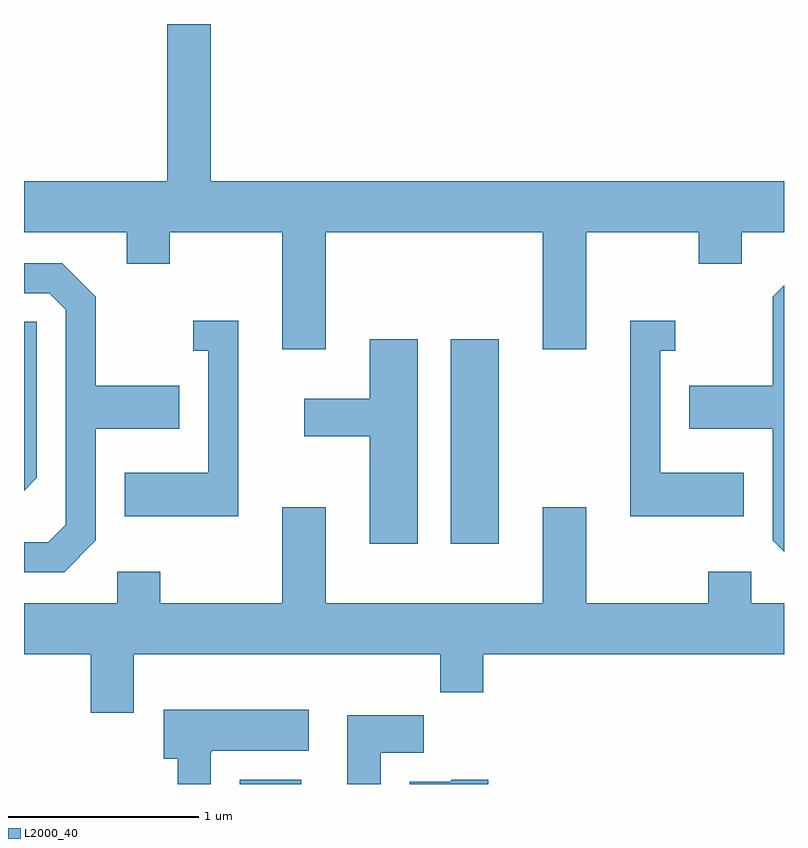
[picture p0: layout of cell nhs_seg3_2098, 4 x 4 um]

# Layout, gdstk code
import gdstk
lib = gdstk.Library(unit=1e-6, precision=1e-09)
def R(c, l, rs):  # rectangles x0, y0, x1, y1
    for r in rs: c.add(gdstk.rectangle(r[:2], r[2:], *l))
def P(c, l, *ps):  # polygons
    for p in ps: c.add(gdstk.Polygon(p, *l))
L2000_40 = (2000, 40)

nhs_seg3_2098 = lib.new_cell('nhs_seg3_2098')
R(nhs_seg3_2098, L2000_40, [(246.746,1231.892,247.069,1231.914), (247.856,1233.156,248.109,1234.234)])
P(nhs_seg3_2098, L2000_40, [(247.199,1234.796),(248.341,1234.796),(248.341,1234.181),(248.569,1234.181),(248.569,1234.796),(249.161,1234.796),(249.161,1234.631),(249.389,1234.631),(249.389,1234.796),(249.611,1234.796),(249.611,1235.064),(246.594,1235.064),(246.594,1235.892),(246.366,1235.892),(246.366,1235.064),(245.611,1235.064),(245.611,1234.796),(246.151,1234.796),(246.151,1234.631),(246.379,1234.631),(246.379,1234.796),(246.971,1234.796),(246.971,1234.181),(247.199,1234.181)],
  [(245.989,1233.174),(245.989,1233.761),(246.429,1233.761),(246.429,1233.989),(245.989,1233.989),(245.989,1234.457),(245.812,1234.634),(245.611,1234.634),(245.611,1234.476),(245.744,1234.476),(245.831,1234.389),(245.831,1233.257),(245.739,1233.164),(245.611,1233.164),(245.611,1233.006),(245.822,1233.006)],
  [(249.611,1234.517),(249.551,1234.457),(249.551,1233.989),(249.111,1233.989),(249.111,1233.761),(249.551,1233.761),(249.551,1233.174),(249.611,1233.114)],
  [(246.739,1234.329),(246.503,1234.329),(246.503,1234.171),(246.581,1234.171),(246.581,1233.529),(246.141,1233.529),(246.141,1233.301),(246.739,1233.301)],
  [(249.399,1233.529),(248.959,1233.529),(248.959,1234.171),(249.038,1234.171),(249.038,1234.329),(248.801,1234.329),(248.801,1233.301),(249.399,1233.301)],
  [(245.679,1233.504),(245.679,1234.324),(245.611,1234.324),(245.611,1233.436)],
  [(247.684,1234.234),(247.431,1234.234),(247.431,1233.919),(247.086,1233.919),(247.086,1233.721),(247.431,1233.721),(247.431,1233.156),(247.684,1233.156)],
  [(246.189,1232.576),(247.801,1232.576),(247.801,1232.376),(248.029,1232.376),(248.029,1232.576),(249.611,1232.576),(249.611,1232.844),(249.439,1232.844),(249.439,1233.009),(249.211,1233.009),(249.211,1232.844),(248.569,1232.844),(248.569,1233.349),(248.341,1233.349),(248.341,1232.844),(247.199,1232.844),(247.199,1233.349),(246.971,1233.349),(246.971,1232.844),(246.329,1232.844),(246.329,1233.009),(246.101,1233.009),(246.101,1232.844),(245.611,1232.844),(245.611,1232.576),(245.961,1232.576),(245.961,1232.266),(246.189,1232.266)],
  [(246.594,1232.06),(246.6,1232.06),(246.6,1232.066),(247.109,1232.066),(247.109,1232.284),(246.346,1232.284),(246.346,1232.026),(246.421,1232.026),(246.421,1231.892),(246.594,1231.892)],
  [(247.489,1232.056),(247.714,1232.056),(247.714,1232.254),(247.311,1232.254),(247.311,1231.892),(247.489,1231.892)],
  [(248.054,1231.914),(247.86,1231.914),(247.86,1231.904),(247.641,1231.904),(247.641,1231.892),(248.054,1231.892)])

lib.write_gds('nhs_seg3_2098.gds')
